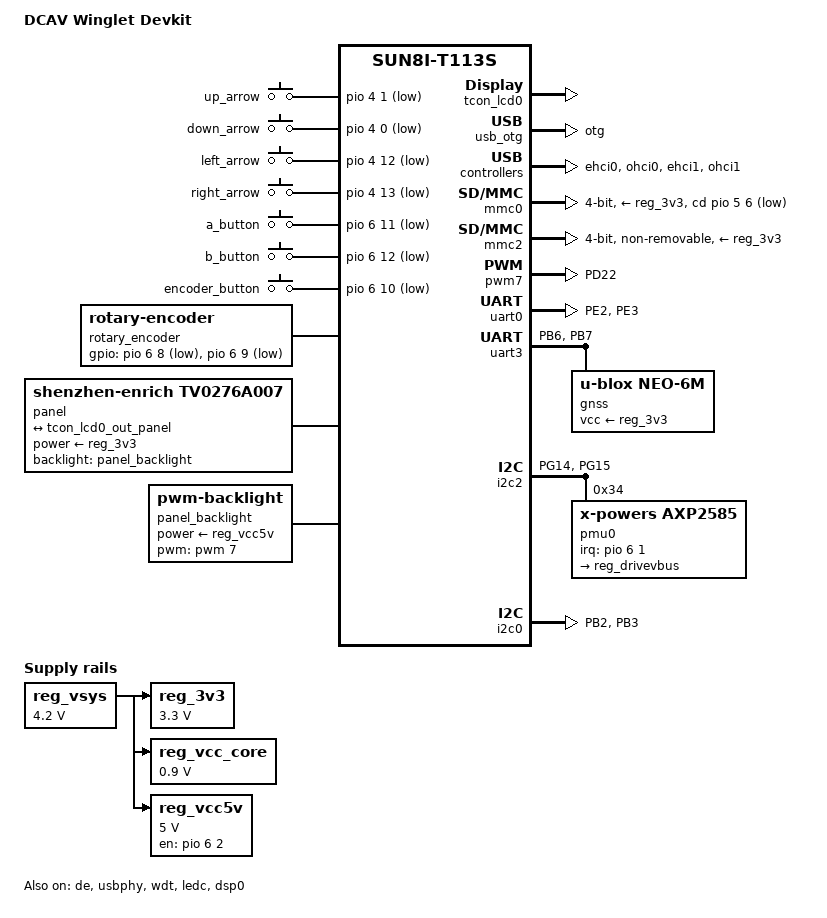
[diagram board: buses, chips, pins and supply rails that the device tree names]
/*
 * DCAV Winglet-DK : Robert Pafford (rjp5th), Adam Batori (HCAdam)
 */

#include <dt-bindings/interrupt-controller/irq.h>
#include <dt-bindings/gpio/gpio.h>
#include <dt-bindings/input/linux-event-codes.h>

/dts-v1/;

#include <arm/allwinner/sun8i-t113s.dtsi>

/ {
	model = "DCAV Winglet Devkit";
	compatible = "dcav,winglet-dk", "allwinner,sun8i-t113s";

	aliases {
		serial0 = &uart0;
		serial3 = &uart3;
	};

	chosen {
		stdout-path = "serial0:115200n8";
	};

	/* TPS63802 3.3V DC/DC regulator on the board */
	reg_3v3: regulator-3v3 {
		compatible = "regulator-fixed";
		regulator-name = "vcc-3v3";
		regulator-min-microvolt = <3300000>;
		regulator-max-microvolt = <3300000>;
		vin-supply = <&reg_vsys>;
		regulator-always-on;
	};

	/* ZD8028C 0.9V DC/DC regulator on the board, also supplied by VSYS */
	reg_vcc_core: regulator-core {
		compatible = "regulator-fixed";
		regulator-name = "vcc-core";
		regulator-min-microvolt = <900000>;
		regulator-max-microvolt = <900000>;
		vin-supply = <&reg_vsys>;
		regulator-always-on;
	};

	/* Root regulator for entire system (created by BMU) */
	reg_vsys: regulator-vsys {
		compatible = "regulator-fixed";
		regulator-name = "vcc-vsys";
		regulator-min-microvolt = <4200000>;
		regulator-max-microvolt = <4200000>;
		regulator-always-on;
	};

	/* Regulator to control OTG pin on board to generate 5V on battery power */
	reg_vcc5v: regulator-5v {
		compatible = "regulator-fixed";
		regulator-name = "vcc-5v";
		regulator-min-microvolt = <5000000>;
		regulator-max-microvolt = <5000000>;
		gpio = <&pio 6 2 GPIO_ACTIVE_HIGH>;			// PG2
		startup-delay-us = <2000>;
		enable-active-high;
		vin-supply = <&reg_vsys>;
	};

	/* GPIO Keys */
	gpio_buttons: gpio_buttons {
		compatible = "gpio-keys";
		autorepeat;
		status = "okay";

		up {
            label = "up_arrow";
            linux,code = <KEY_UP>;
            gpios = <&pio 4 1 (GPIO_ACTIVE_LOW | GPIO_PULL_UP)>;    // PE1
        };

        down {
            label = "down_arrow";
            linux,code = <KEY_DOWN>;
            gpios = <&pio 4 0 (GPIO_ACTIVE_LOW | GPIO_PULL_UP)>;    // PE0
        };

		left {
			label = "left_arrow";
			linux,code = <KEY_LEFT>;
			gpios = <&pio 4 12 (GPIO_ACTIVE_LOW | GPIO_PULL_UP)>;   // PE12
		};

		right {
			label = "right_arrow";
			linux,code = <KEY_RIGHT>;
			gpios = <&pio 4 13 (GPIO_ACTIVE_LOW | GPIO_PULL_UP)>;   // PE13
		};

		key_a {
			label = "a_button";
			linux,code = <KEY_A>;
			gpios = <&pio 6 11 (GPIO_ACTIVE_LOW | GPIO_PULL_UP)>;   // PG11
		};

		key_b {
		    label = "b_button";
		    linux,code = <KEY_B>;
		    gpios = <&pio 6 12 (GPIO_ACTIVE_LOW | GPIO_PULL_UP)>;   // PG12
		};

		key_encoder {
		    label = "encoder_button";
		    linux,code = <KEY_ENTER>;
		    gpios = <&pio 6 10 (GPIO_ACTIVE_LOW | GPIO_PULL_UP)>;   // PG10
		};
	};

	rotary_encoder: rotary_encoder {
		compatible = "rotary-encoder";
		gpios = <&pio 6 8 (GPIO_ACTIVE_LOW | GPIO_PULL_UP)>, <&pio 6 9 (GPIO_ACTIVE_LOW | GPIO_PULL_UP)>;   // PG8, PG9
		linux,axis = <REL_WHEEL>;
		rotary-encoder,steps-per-period = <2>;
		rotary-encoder,encoding = "gray";
		rotary-encoder,relative-axis;
		status = "okay";
	};

	/* Display and Backlight */
	panel: panel {
		compatible = "shenzhen-enrich,tv0276a007";
		/*
		 * Backup Panel Timing Definitions
		 *

		u-boot format: x:480,y:480,depth:18,pclk_khz:25000,le:152,ri:148,up:12,lo:28,hs:8,vs:8,sync:0,vmode:0

			static const struct display_timing ampire_am_800480l1tmqw_t00h_timing = {
				.pixelclock = { 16000000, 25000000, 30000000 },
				.hactive = { 480, 480, 480 },
				.hfront_porch = { 148, 148, 148 },
				.hback_porch = { 152, 152, 152 },
				.hsync_len = { 8, 8, 8 },
				.vactive = { 480, 480, 480 },
				.vfront_porch = { 28, 28, 28 },
				.vback_porch = { 12, 12, 12 },
				.vsync_len = { 8, 8, 8 },
				.flags = DISPLAY_FLAGS_HSYNC_LOW | DISPLAY_FLAGS_VSYNC_LOW |
					 DISPLAY_FLAGS_DE_HIGH | DISPLAY_FLAGS_PIXDATA_POSEDGE |
					 DISPLAY_FLAGS_SYNC_POSEDGE,
			};

			static const struct panel_desc ampire_am_800480l1tmqw_t00h = {
				.timings = &ampire_am_800480l1tmqw_t00h_timing,
				.num_timings = 1,
				.bpc = 6,
				.size = {
					.width = 70,
					.height = 70,
				},
				.bus_format = MEDIA_BUS_FMT_RGB666_1X18,
				.bus_flags = DRM_BUS_FLAG_DE_HIGH |
					     DRM_BUS_FLAG_PIXDATA_SAMPLE_POSEDGE |
					     DRM_BUS_FLAG_SYNC_SAMPLE_POSEDGE,
				.connector_type = DRM_MODE_CONNECTOR_DPI,
			};
		*/

		power-supply = <&reg_3v3>;
		backlight = <&panel_backlight>;
		no-hpd;

		port {
			panel_input: endpoint {
				remote-endpoint = <&tcon_lcd0_out_panel>;
			};
		};
	};

	panel_backlight: panel-backlight {
		compatible = "pwm-backlight";
		status = "okay";

		/* PWM CH 7, run at 1 KHz (1ms duty cycle), no flags (not inverted) */
		pwms = <&pwm 7 1000000 0>;

		/* Use non-linear steps to get a linear perceived brightness increase */
		/* Use steps of 2000 to make brightess simple from 0-1000 when programming it */
		brightness-levels = <0 4096 8192 16384 32768 65535>;
		num-interpolated-steps = <200>;

		/* 75% Default Brightness */
		default-brightness-level = <750>;

		/* Power supply needed to turn on backlight */
		power-supply = <&reg_vcc5v>;
	};

	adsb_rx: adsb-rx0 {
		status = "okay";
		compatible = "dcav,winglet-adsb-rx";
		dsp-inst = <&dsp0>;
	};
};

&de {
	status = "okay";

	/* fbdev_mode_override Format: <fbdev_width, fbdev_height, fb_flags (DRM_MODE_FB_*)>
	 * 0x1C = DRM_MODE_FB_ALLOW_SCALING | DRM_MODE_FB_CENTER_IMG | DRM_MODE_FB_FILL_BORDER */
	fbdev_mode_override = <340 340 0x1C>;
};

/delete-node/ &dsi_in_tcon_lcd0;
/delete-node/ &tcon_lcd0_out_dsi;

&tcon_tv0 {
	status = "disabled";
};

&tcon_lcd0 {
	pinctrl-names = "default";
	pinctrl-0 = <&lcd_rgb666_pins>;
	status = "okay";
};

&tcon_lcd0_out {
	tcon_lcd0_out_panel: endpoint@0 {
		reg = <0>;
		remote-endpoint = <&panel_input>;
	};
};

&mixer1 {
	/* Need to disable mixer 1 or else weird artifacts occur on the display
	   For whatever reason the last x line will be wrapped around to the first.
	   To fix it, you need to clear the CORE1_SCLK_GATE register */
	status = "disabled";
};

&dcxo {
	/* Board has 24 MHz crystal */
	clock-frequency = <24000000>;
};

&rtc {
	force-ext-osc;
};

&usb_otg {
	dr_mode = "otg";
	status = "okay";
};

&usbphy {
	usb0_vbus-supply = <&reg_vcc5v>;
	usb0_vbus_power-supply = <&usb_power_supply>;
	axp2585-bmu = <&battery_power_supply>;
	status = "okay";
};

&ehci0 {
	status = "okay";
};

&ohci0 {
	status = "okay";
};

&ehci1 {
	status = "okay";
};

&ohci1 {
	status = "okay";
};

&mmc0 {
	pinctrl-0 = <&mmc0_pins>;
	pinctrl-names = "default";
	vmmc-supply = <&reg_3v3>;
	cd-gpios = <&pio 5 6 (GPIO_ACTIVE_LOW | GPIO_PULL_UP)>;     // PF6
	disable-wp;
	bus-width = <4>;
	status = "okay";
};

&mmc2 {
	pinctrl-0 = <&mmc2_pins>;
	pinctrl-names = "default";
	vmmc-supply = <&reg_3v3>;
	non-removable;
	no-1-8-v;
	bus-width = <4>;
	status = "okay";
};

&pio {
	vcc-pb-supply = <&reg_3v3>;
	vcc-pc-supply = <&reg_3v3>;
	vcc-pd-supply = <&reg_3v3>;
	vcc-pe-supply = <&reg_3v3>;
	vcc-pf-supply = <&reg_3v3>;
	vcc-pg-supply = <&reg_3v3>;

	/omit-if-no-ref/
	uart0_pins: uart0_pins@0 {
		pins = "PE2", "PE3";
		function = "uart0";
		bias-pull-up;
	};

	/omit-if-no-ref/
	uart3_pins: uart3_pins@0 {
		pins = "PB6", "PB7";
		function = "uart3";
		bias-pull-up;
	};

	/omit-if-no-ref/
	i2c2_pins: i2c2_pins@0 {
		pins = "PG14", "PG15";
		function = "i2c2";
		bias-pull-up;
	};

	/omit-if-no-ref/
	pwm7_pin_active: pwm7@0 {
		pins = "PD22";
		function = "pwm7";
		bias-disable;
	};

	/omit-if-no-ref/
	pwm7_pin_sleep: pwm7@1 {
		pins = "PD22";
		function = "gpio_in";
		bias-pull-down;
	};

	/omit-if-no-ref/
	ledc_pins_active: ledc@0 {
		pins = "PG13";
		function = "ledc";
		bias-pull-down;
	};

	/omit-if-no-ref/
	ledc_pins_sleep: ledc@1 {
		pins = "PG13";
		function = "gpio_in";
		bias-pull-down;
	};

	/omit-if-no-ref/
	sao_i2c_pins: sao_i2c_pins@0 {
		pins = "PB2", "PB3";
		function = "i2c0";
		bias-pull-up;
	};
};

/* Backlight PWM Definition */
&pwm7 {
	pinctrl-names = "active", "sleep";
	pinctrl-0 = <&pwm7_pin_active>;
	pinctrl-1 = <&pwm7_pin_sleep>;
	status = "okay";
};

/* Debug UART */
&uart0 {
	pinctrl-names = "default";
	pinctrl-0 = <&uart0_pins>;
	status = "okay";
};

/* GPS UART */
&uart3 {
	pinctrl-names = "default";
	pinctrl-0 = <&uart3_pins>;
	status = "okay";

	gnss: gnss {
		compatible = "u-blox,neo-6m";
		current-speed = <9600>;
		vcc-supply = <&reg_3v3>;
	};
};

/* Internal I2C Bus */
&i2c2 {
	pinctrl-names = "default";
	pinctrl-0 = <&i2c2_pins>;
	status = "okay";

	pmu0: pmu@34 {
		compatible = "x-powers,axp2585";
		reg = <0x34>;
		interrupts = <6 1 IRQ_TYPE_LEVEL_LOW>;   // PG1
		interrupt-parent = <&pio>;
		interrupt-controller;
		#interrupt-cells = <1>;

		x-powers,drive-vbus-en;
		pmu_reset = <0>;
		pmu_irq_wakeup = <0>;
		pmu_hot_shutdown = <1>;
		status = "okay";

		wakeup-source;

		usb_power_supply: usb_power_supply {
			compatible = "x-powers,axp2585-usb-power-supply";
			status = "okay";

			pmu_usbpc_vol = <4400>;

			wakeup_usb_in;
			wakeup_usb_out;
		};

		battery_power_supply: battery_power_supply {
			compatible = "x-powers,axp2585-battery-power-supply";
			status = "okay";

			pmu_battery_rdc = <91>;  /* Battery RDC Programming (If not valid) */
			pmu_battery_cap = <3350>;  /* Battery Capacity mAh */
			pmu_runtime_chgcur = <1024>; /* TODO: Maybe increase this? Battery Max Charge Current in mA  */
			pmu_suspend_chgcur = <1024>;  /* Current during suspend */
			pmu_shutdown_chgcur = <1024>;  /* Current during shutdown */
			pmu_init_chgvol = <4200>;  /* Max charge 4.2V */
			pmu_pwroff_vol = <2800>;   /* Shut down at 2.8V */

			pmu_init_chg_pretime = <50>;  /* Safety Timer 1 (Precharge) Timeout minutes */
			pmu_init_chg_csttime = <720>;  /* Safety Timer 2 (Regular Charge) Timeout minutes */
			pmu_batt_cap_correct = <0>;  /* Don't update battery capacity on full charges */

			pmu_battery_warning_level1 = <15>;  /* Battery Low Notification */
			pmu_battery_warning_level2 = <0>;   /* Turning Off Notification */
			pmu_chgled_type = <0>;  /* Charge LED Mode 0 (Default) */

			/* Battery SOC Map - TODO: Update this */
			pmu_bat_para1 = <0>;     /* 2.99V */
			pmu_bat_para2 = <0>;     /* 3.13V */
			pmu_bat_para3 = <1>;     /* 3.27V */
			pmu_bat_para4 = <2>;     /* 3.34V */
			pmu_bat_para5 = <4>;     /* 3.41V */
			pmu_bat_para6 = <6>;     /* 3.48V */
			pmu_bat_para7 = <8>;     /* 3.52V */
			pmu_bat_para8 = <10>;    /* 3.55V */
			pmu_bat_para9 = <12>;    /* 3.57V */
			pmu_bat_para10 = <15>;   /* 3.59V */
			pmu_bat_para11 = <18>;   /* 3.61V */
			pmu_bat_para12 = <23>;   /* 3.63V */
			pmu_bat_para13 = <29>;   /* 3.64V */
			pmu_bat_para14 = <35>;   /* 3.66V */
			pmu_bat_para15 = <41>;   /* 3.70V */
			pmu_bat_para16 = <47>;   /* 3.73V */
			pmu_bat_para17 = <52>;   /* 3.77V */
			pmu_bat_para18 = <56>;   /* 3.78V */
			pmu_bat_para19 = <63>;   /* 3.80V */
			pmu_bat_para20 = <70>;   /* 3.84V */
			pmu_bat_para21 = <76>;   /* 3.85V */
			pmu_bat_para22 = <79>;   /* 3.87V */
			pmu_bat_para23 = <82>;   /* 3.91V */
			pmu_bat_para24 = <85>;   /* 3.94V */
			pmu_bat_para25 = <87>;   /* 3.98V */
			pmu_bat_para26 = <89>;   /* 4.01V */
			pmu_bat_para27 = <91>;   /* 4.05V */
			pmu_bat_para28 = <93>;   /* 4.08V */
			pmu_bat_para29 = <95>;   /* 4.10V */
			pmu_bat_para30 = <97>;   /* 4.12V */
			pmu_bat_para31 = <98>;   /* 4.14V */
			pmu_bat_para32 = <99>;   /* 4.15V */

			wakeup_bat_out;
			/* wakeup_bat_in; */
			wakeup_bat_charging;
			/* wakeup_bat_charge_over; */
			/* wakeup_low_warning1; */
			wakeup_low_warning2;
			/* wakeup_bat_untemp_work; */
			/* wakeup_bat_ovtemp_work; */
			/* wakeup_bat_untemp_chg; */
			/* wakeup_bat_ovtemp_chg; */

			pmu_bat_temp_enable = <1>;
			pmu_bat_charge_ltf = <1485>;
			pmu_bat_charge_htf = <295>;
			pmu_bat_shutdown_ltf = <2420>;
			pmu_bat_shutdown_htf = <218>;
		};

		regulator0: regulators@0 {
			status = "okay";
			compatible = "x-powers,axp2202-regulator";

			reg_drivevbus: drivevbus {
				regulator-name = "axp2585-drivevbus";
			};
		};

		virtual-drivevbus {
			compatible = "xpower-vregulator,drivevbus";
			drivevbus-supply = <&reg_drivevbus>;
		};

		powerkey0: powerkey@0 {
			status = "okay";
			compatible = "x-powers,axp2585-pek";
			pmu_powkey_off_time = <6500>;
			pmu_powkey_long_time = <2500>;
			pmu_powkey_on_time = <1000>;
			wakeup_rising;
			/* wakeup_falling; */
		};
	};
};

/* SAO I2C Bus */
&i2c0 {
	pinctrl-names = "default";
	pinctrl-0 = <&sao_i2c_pins>;
	status = "okay";
};

&cpu0 {
	cpu-supply = <&reg_vcc_core>;
	clock-frequency = <800000000>;
};

&cpu1 {
	cpu-supply = <&reg_vcc_core>;
	clock-frequency = <800000000>;
};

&wdt {
	status = "okay";
};

&can1 {
	status = "disabled";
};

&ledc {
	pinctrl-names = "default", "sleep";
	pinctrl-0 = <&ledc_pins_active>;
	pinctrl-1 = <&ledc_pins_sleep>;
	led_count = <24>;
	output_mode = "GRB";
	reset_ns = <84>;
	t1h_ns = <900>;
	t1l_ns = <1100>;
	t0h_ns = <280>;
	t0l_ns = <1720>;
	wait_time0_ns = <84>;
	wait_time1_ns = <84>;
	wait_data_time_ns = <600000>;
	led_regulator = <&reg_vcc5v>;
	status = "okay";
};

&dsp0 {
	pinctrl-0 = <&dsp_jtag_pins>;
	status = "okay";
};
